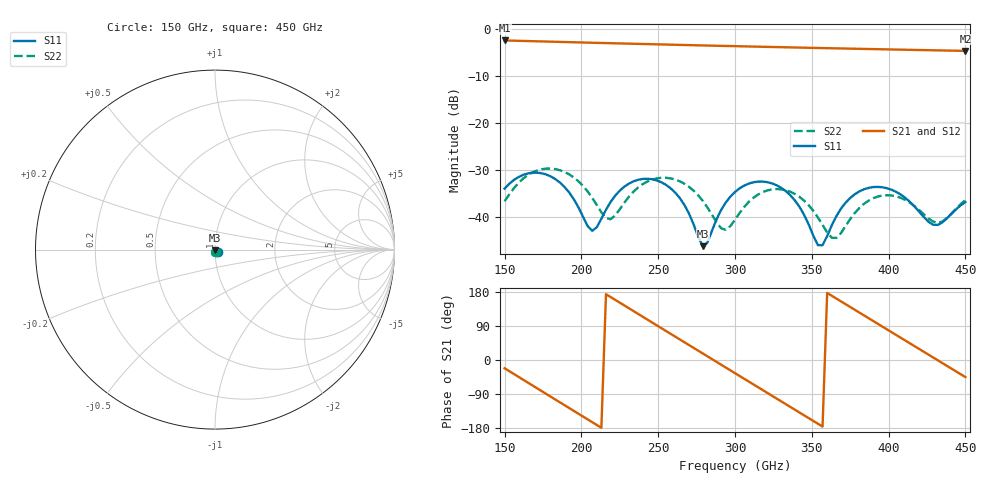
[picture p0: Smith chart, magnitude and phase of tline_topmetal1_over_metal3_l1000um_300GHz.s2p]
#  GHZ S DB R 50
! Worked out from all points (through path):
!   101 points, 150 GHz to 450 GHz, reference 50 ohm
!   highest |S21| = -2.45 dB at 150 GHz (marker M1); lowest = -4.7 dB at 450 GHz (marker M2)
!   group delay of S21, straight-line fit = 6.88 ps
!   lowest |S11| = -46.1 dB at 279 GHz (marker M3), VSWR 1.01, Z = 50 - j0.496 ohm
!   |S11| at or under -10 dB: start of sweep to end of sweep
!   |S22| runs from -44.3 to -29.6 dB; largest |S21 - S12| = 8.5e-14
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150  -33.88 -44.2  -2.45 -21.8  -2.45 -21.8  -36.56 -68.2
165  -30.67 -63.8  -2.58 -59.3  -2.58 -59.3  -31.03 -71.6
177  -30.88 -85.9  -2.68 -89.2  -2.68 -89.2  -29.64 -92.1
189  -33.52 -106.0  -2.79 -119.2  -2.79 -119.2  -30.35 -114.3
201  -39.80 -108.0  -2.89 -149.0  -2.89 -149.0  -33.29 -132.3
207  -42.84 -78.7  -2.94 -164.0  -2.94 -164.0  -35.82 -135.6
219  -36.72 -43.0  -3.04 166.2  -3.04 166.2  -40.37 -102.9
237  -32.01 -69.4  -3.18 121.5  -3.18 121.5  -33.62 -85.0
252  -32.53 -99.0  -3.30 84.2  -3.30 84.2  -31.59 -109.2
267  -37.32 -123.0  -3.42 47.0  -3.42 47.0  -32.83 -135.9
279  -46.09 -90.6  -3.51 17.3  -3.51 17.3  -36.47 -150.8
291  -38.40 -42.6  -3.60 -12.4  -3.60 -12.4  -42.30 -132.3
300  -34.59 -53.9  -3.66 -34.7  -3.66 -34.7  -40.48 -96.6
324  -32.76 -100.9  -3.84 -94.1  -3.84 -94.1  -34.05 -115.5
339  -36.39 -127.1  -3.94 -131.2  -3.94 -131.2  -35.02 -140.5
351  -43.88 -122.8  -4.03 -160.8  -4.03 -160.8  -38.60 -153.7
357  -45.89 -80.4  -4.07 -175.7  -4.07 -175.7  -41.59 -150.8
366  -39.72 -54.0  -4.13 162.1  -4.13 162.1  -44.34 -114.9
384  -34.03 -77.8  -4.25 117.7  -4.25 117.7  -37.11 -96.1
402  -34.13 -109.4  -4.36 73.3  -4.36 73.3  -35.34 -120.9
429  -41.54 -109.2  -4.54 6.7  -4.54 6.7  -40.88 -124.8
450  -36.72 -87.7  -4.66 -45.1  -4.66 -45.1  -36.28 -96.5
